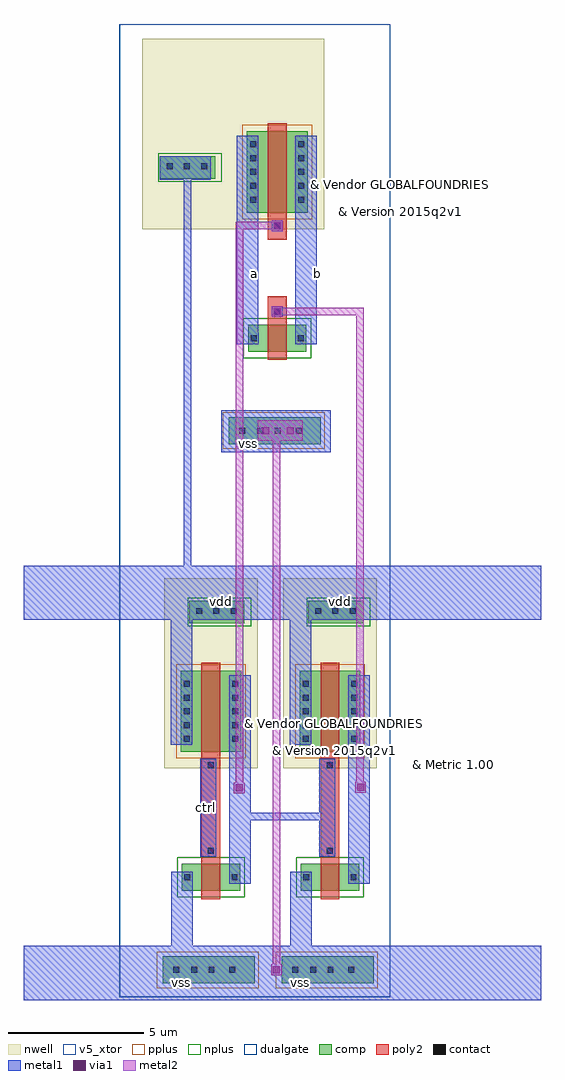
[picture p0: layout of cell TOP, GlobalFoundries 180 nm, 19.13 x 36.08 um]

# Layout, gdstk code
import gdstk
lib = gdstk.Library(unit=1e-6, precision=1e-08)
def R(c, l, rs):  # rectangles x0, y0, x1, y1
    for r in rs: c.add(gdstk.rectangle(r[:2], r[2:], *l))
def A(c, l, x, y, w, h, nx, ny, dx, dy):  # array of equal rectangles
    R(c, l, [(x+i*dx, y+j*dy, x+i*dx+w, y+j*dy+h) for i in range(nx) for j in range(ny)])
nwell = (21, 0)
comp = (22, 0)
poly2 = (30, 0)
pplus = (31, 0)
nplus = (32, 0)
contact = (33, 0)
metal1 = (34, 0)
via1 = (35, 0)
metal2 = (36, 0)
dualgate = (55, 0)
v5_xtor = (112, 1)

top = lib.new_cell('TOP')
R(top, nwell, [(-2.83,1.22,0.63,8.25), (1.57,1.22,5.03,8.25), (-3.64,21.16,3.08,28.19)])
R(top, comp, [(-2.89,-6.73,0.51,-5.73), (1.51,-6.73,4.91,-5.73), (-2.18,-3.31,-1.76,-2.31), (-1.76,-3.31,-0.44,-2.31), (-0.44,-3.31,-0.02,-2.31), (2.22,-3.31,2.64,-2.31), (2.64,-3.31,3.96,-2.31), (3.96,-3.31,4.38,-2.31), (-2.22,1.83,-1.76,4.83), (-1.76,1.83,-0.44,4.83), (-0.44,1.83,0.02,4.83), (2.18,1.83,2.64,4.83), (2.64,1.83,3.96,4.83), (3.96,1.83,4.42,4.83), (-1.91,6.58,0.14,7.42), (2.49,6.58,4.54,7.42), (-0.44,13.21,2.96,14.21), (0.27,16.63,0.69,17.63), (0.69,16.63,2.01,17.63), (2.01,16.63,2.43,17.63), (0.23,21.77,0.69,24.77), (0.69,21.77,2.01,24.77), (2.01,21.77,2.47,24.77), (-3,23.02,-0.95,23.86)])
R(top, poly2, [(-1.45,-3.61,-0.75,-2.01), (2.95,-3.61,3.65,-2.01), (-1.45,-2.01,-0.75,-1.65), (2.95,-2.01,3.65,-1.65), (-1.45,-1.91,-0.75,1.88), (2.95,-1.91,3.65,1.88), (-1.45,1.15,-0.75,1.53), (2.95,1.15,3.65,1.53), (-1.45,1.53,-0.75,5.13), (2.95,1.53,3.65,5.13), (1,16.33,1.7,17.93), (1,17.93,1.7,18.68), (1,20.77,1.7,21.47), (1,21.47,1.7,25.07)])
R(top, pplus, [(-3.11,-6.9,0.66,-5.56), (1.29,-6.9,5.06,-5.56), (-2.39,1.59,0.19,5.07), (2.01,1.59,4.59,5.07), (-0.66,13.04,3.11,14.38), (0.06,21.53,2.64,25.01)])
R(top, nplus, [(-2.35,-3.55,0.15,-2.07), (2.05,-3.55,4.55,-2.07), (-1.96,6.47,0.39,7.53), (2.44,6.47,4.79,7.53), (0.1,16.39,2.6,17.87), (-3.05,22.91,-0.7,23.97)])
A(top, contact, -2.1, 2.2, 0.22, 0.22, 1, 5, 0, 0.51)
A(top, contact, -0.32, 2.2, 0.22, 0.22, 1, 5, 0, 0.51)
A(top, contact, 2.3, 2.2, 0.22, 0.22, 1, 5, 0, 0.51)
A(top, contact, 4.08, 2.2, 0.22, 0.22, 1, 5, 0, 0.51)
A(top, contact, 0.35, 22.14, 0.22, 0.22, 1, 5, 0, 0.51)
A(top, contact, 2.13, 22.14, 0.22, 0.22, 1, 5, 0, 0.51)
R(top, contact, [(-2.5,-6.34,-2.28,-6.12), (-1.83,-6.34,-1.61,-6.12), (-1.83,-6.34,-1.61,-6.12), (-1.19,-6.34,-0.97,-6.12), (-0.42,-6.34,-0.2,-6.12), (1.9,-6.34,2.12,-6.12), (2.57,-6.34,2.79,-6.12), (2.57,-6.34,2.79,-6.12), (3.21,-6.34,3.43,-6.12), (3.98,-6.34,4.2,-6.12), (-2.08,-2.92,-1.86,-2.7), (-0.34,-2.92,-0.12,-2.7), (2.32,-2.92,2.54,-2.7), (4.06,-2.92,4.28,-2.7), (-1.21,-1.94,-0.99,-1.72), (3.19,-1.94,3.41,-1.72), (-1.21,1.23,-0.99,1.45), (3.19,1.23,3.41,1.45), (-1.64,6.93,-1.42,7.15), (-1.02,6.93,-0.8,7.15), (-0.37,6.93,-0.15,7.15), (2.76,6.93,2.98,7.15), (3.38,6.93,3.6,7.15), (4.03,6.93,4.25,7.15), (-0.05,13.6,0.17,13.82), (0.62,13.6,0.84,13.82), (0.62,13.6,0.84,13.82), (1.26,13.6,1.48,13.82), (2.03,13.6,2.25,13.82), (0.37,17.02,0.59,17.24), (2.11,17.02,2.33,17.24), (1.24,18,1.46,18.22), (1.24,21.17,1.46,21.39), (-2.73,23.37,-2.51,23.59), (-2.11,23.37,-1.89,23.59), (-1.46,23.37,-1.24,23.59)])
R(top, metal1, [(-2.58,-6.42,-2.2,-6.04), (1.12,-6.42,1.52,-6.02), (1.82,-6.42,2.2,-6.04), (-2.16,-3,-1.78,-2.62), (-0.42,-3,-0.04,-2.62), (2.24,-3,2.62,-2.62), (3.98,-3,4.36,-2.62), (-1.29,-2.02,-0.91,-1.64), (3.11,-2.02,3.49,-1.64), (-0.25,0.3,0.15,0.7), (4.23,0.33,4.63,0.73), (-1.29,1.15,-0.91,1.53), (3.11,1.15,3.49,1.53), (-2.18,2.12,-1.8,4.54), (-0.4,2.12,-0.02,4.54), (2.22,2.12,2.6,4.54), (4,2.12,4.38,4.54), (-0.72,12.9,3.33,14.47), (0.73,13.5,1.13,13.9), (1.63,13.51,2.03,13.91), (-0.13,13.52,0.25,13.9), (0.29,16.94,0.67,17.32), (2.03,16.94,2.41,17.32), (1.15,17.91,1.55,18.31), (1.16,17.92,1.54,18.3), (1.15,21.08,1.55,21.48), (1.16,21.09,1.54,21.47), (0.27,22.06,0.65,24.48), (2.05,22.06,2.43,24.48), (-2.99,22.98,-1.11,23.85)])
R(top, via1, [(1.19,-6.35,1.45,-6.09), (-0.18,0.37,0.08,0.63), (4.3,0.4,4.56,0.66), (0.8,13.57,1.06,13.83), (1.7,13.58,1.96,13.84), (1.22,17.98,1.48,18.24), (1.22,21.15,1.48,21.41)])
R(top, metal2, [(1.12,-6.42,1.52,-6.02), (-0.25,0.3,0.15,0.7), (4.23,0.33,4.63,0.73), (0.63,13.33,2.29,14.1), (0.73,13.5,1.13,13.9), (1.63,13.51,2.03,13.91), (1.15,17.91,1.55,18.31), (1.15,21.08,1.55,21.48)])
R(top, dualgate, [(-4.49,-7.23,5.53,28.74), (-3.33,-7.21,1.13,8.8), (1.07,-7.21,5.53,8.8), (-2.6,-4.02,0.4,-1.23), (1.8,-4.02,4.8,-1.23), (-2.64,0.74,0.44,5.54), (1.76,0.74,4.84,5.54), (-0.15,15.92,2.85,18.71), (-0.19,20.68,2.89,25.48)])
R(top, v5_xtor, [(-4.47,-7.22,5.53,28.74), (-3.33,-7.22,1.13,8.8), (1.07,-7.22,5.53,8.8), (-2.6,-4.02,0.4,-1.23), (1.8,-4.02,4.8,-1.23), (-2.64,0.74,0.44,5.54), (1.76,0.74,4.84,5.54), (-0.15,15.92,2.85,18.71), (-0.19,20.68,2.89,25.48)])
top.add(gdstk.FlexPath([(0.25,24.6),(0.25,16.9)], 0.8, ends="flush", simple_path=True, layer=34, datatype=0))  # metal1
top.add(gdstk.FlexPath([(-1.97,23.38),(-1.97,8.32)], 0.28, ends="flush", simple_path=True, layer=34, datatype=0))  # metal1
top.add(gdstk.FlexPath([(2.42,24.6),(2.42,16.9)], 0.8, ends="flush", simple_path=True, layer=34, datatype=0))  # metal1
top.add(gdstk.FlexPath([(-8.02,7.71),(6.71,7.71)], 2, ends="flush", simple_path=True, layer=34, datatype=0))  # metal1
top.add(gdstk.FlexPath([(-8.02,-6.34),(6.71,-6.34)], 2, ends="flush", simple_path=True, layer=34, datatype=0))  # metal1
top.add(gdstk.FlexPath([(-2.17,-2.6),(-2.17,-5.51)], 0.8, ends="flush", simple_path=True, layer=34, datatype=0))  # metal1
top.add(gdstk.FlexPath([(-2.19,2.1),(-2.19,7.12)], 0.8, ends="flush", simple_path=True, layer=34, datatype=0))  # metal1
top.add(gdstk.FlexPath([(-0.03,4.66),(-0.03,-3.04)], 0.8, ends="flush", simple_path=True, layer=34, datatype=0))  # metal1
top.add(gdstk.FlexPath([(-1.2,-2.05),(-1.2,1.58)], 0.6, ends="flush", simple_path=True, layer=34, datatype=0))  # metal1
top.add(gdstk.FlexPath([(-3.62,7.71),(11.11,7.71)], 2, ends="flush", simple_path=True, layer=34, datatype=0))  # metal1
top.add(gdstk.FlexPath([(-3.62,-6.34),(11.11,-6.34)], 2, ends="flush", simple_path=True, layer=34, datatype=0))  # metal1
top.add(gdstk.FlexPath([(2.23,-2.6),(2.23,-5.51)], 0.8, ends="flush", simple_path=True, layer=34, datatype=0))  # metal1
top.add(gdstk.FlexPath([(2.21,2.1),(2.21,7.12)], 0.8, ends="flush", simple_path=True, layer=34, datatype=0))  # metal1
top.add(gdstk.FlexPath([(4.37,4.66),(4.37,-3.04)], 0.8, ends="flush", simple_path=True, layer=34, datatype=0))  # metal1
top.add(gdstk.FlexPath([(3.2,-2.05),(3.2,1.58)], 0.6, ends="flush", simple_path=True, layer=34, datatype=0))  # metal1
top.add(gdstk.FlexPath([(0.04,-0.55),(3.03,-0.55)], 0.28, ends="flush", simple_path=True, layer=34, datatype=0))  # metal1
top.add(gdstk.FlexPath([(-0.05,0.53),(-0.05,21.29),(1.42,21.29)], 0.28, ends="flush", simple_path=True, layer=36, datatype=0))  # metal2
top.add(gdstk.FlexPath([(1.32,18.11),(4.41,18.11),(4.41,0.44)], 0.28, ends="flush", simple_path=True, layer=36, datatype=0))  # metal2
top.add(gdstk.FlexPath([(1.33,13.79),(1.33,-6.34)], 0.28, ends="flush", simple_path=True, layer=36, datatype=0))  # metal2
top.add(gdstk.Label('a', (0.52,19.5), layer=34, texttype=10))
top.add(gdstk.Label('b', (2.85,19.52), layer=34, texttype=10))
top.add(gdstk.Label('ctrl', (-1.3,-0.22), layer=34, texttype=10))
top.add(gdstk.Label('vss', (0.27,13.23), layer=34, texttype=10))
top.add(gdstk.Label('vdd', (-0.7,7.39), layer=34, texttype=10))
top.add(gdstk.Label('vss', (-2.18,-6.71), layer=34, texttype=10))
top.add(gdstk.Label('vdd', (3.7,7.39), layer=34, texttype=10))
top.add(gdstk.Label('vss', (2.22,-6.71), layer=34, texttype=10))
top.add(gdstk.Label('& Vendor GLOBALFOUNDRIES', (5.9,22.81), layer=63, texttype=63))
top.add(gdstk.Label('& Product GF018hv5v_mcu_sc7', (5.9,22.31), layer=63, texttype=63))
top.add(gdstk.Label('& Version 2015q2v1', (5.9,21.81), layer=63, texttype=63))
top.add(gdstk.Label('& Metric 1.00', (5.9,21.31), layer=63, texttype=63))
top.add(gdstk.Label('& Vendor GLOBALFOUNDRIES', (3.45,2.87), layer=63, texttype=63))
top.add(gdstk.Label('& Product GF018hv5v_mcu_sc7', (3.45,2.37), layer=63, texttype=63))
top.add(gdstk.Label('& Version 2015q2v1', (3.45,1.87), layer=63, texttype=63))
top.add(gdstk.Label('& Metric 1.00', (3.45,1.37), layer=63, texttype=63))
top.add(gdstk.Label('& Vendor GLOBALFOUNDRIES', (7.85,2.87), layer=63, texttype=63))
top.add(gdstk.Label('& Product GF018hv5v_mcu_sc7', (7.85,2.37), layer=63, texttype=63))
top.add(gdstk.Label('& Version 2015q2v1', (7.85,1.87), layer=63, texttype=63))
top.add(gdstk.Label('& Metric 1.00', (7.85,1.37), layer=63, texttype=63))

lib.write_gds('TOP.gds')
